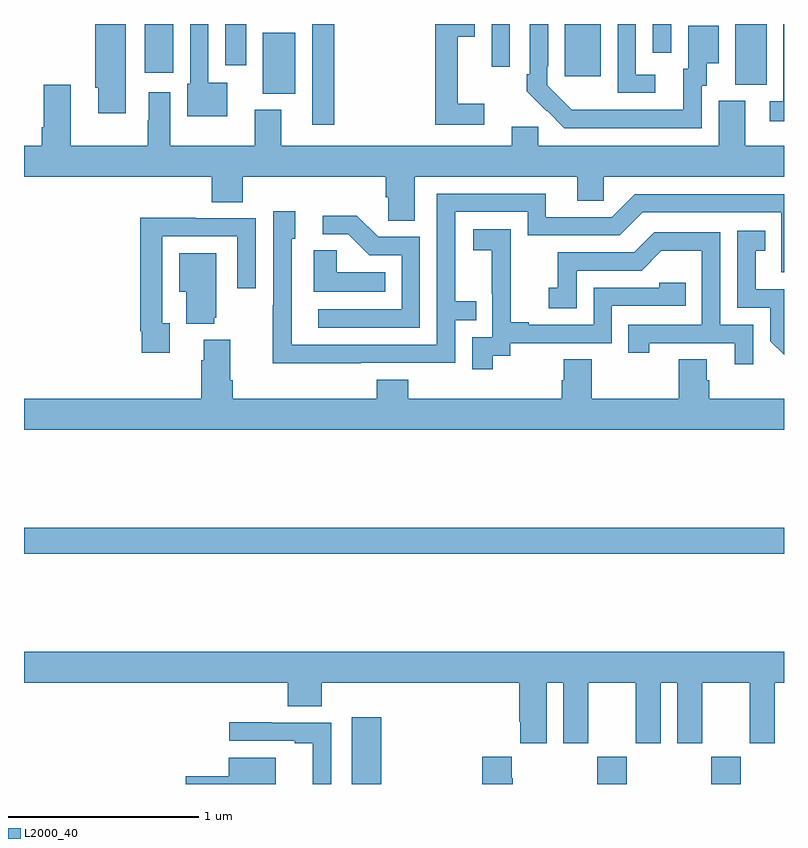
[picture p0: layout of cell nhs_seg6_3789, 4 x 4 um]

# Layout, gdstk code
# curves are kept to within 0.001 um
import gdstk
lib = gdstk.Library(unit=1e-6, precision=1e-09)
def R(c, l, rs):  # rectangles x0, y0, x1, y1
    for r in rs: c.add(gdstk.rectangle(r[:2], r[2:], *l))
def P(c, l, *ps):  # polygons
    for p in ps: c.add(gdstk.Polygon(p, *l))
L2000_40 = (2000, 40)

nhs_seg6_3789 = lib.new_cell('nhs_seg6_3789')
R(nhs_seg6_3789, L2000_40, [(336.725,917.5,336.881,917.851), (338.017,917.5,338.172,917.644), (338.617,917.5,338.772,917.644), (335,918.712,339,918.848), (336.516,920.97,336.632,921.5), (336.257,921.134,336.427,921.454), (338.744,921.181,338.908,921.5), (337.847,921.225,338.035,921.499), (335.636,921.243,335.785,921.5), (337.461,921.276,337.557,921.5), (336.059,921.282,336.169,921.5), (338.31,921.348,338.406,921.5)])
P(nhs_seg6_3789, L2000_40, [(336.07,921.19),(335.97,921.19),(335.97,921.5),(335.874,921.5),(335.874,921.186),(335.858,921.186),(335.858,921.014),(336.07,921.014)],
  [(335.536,921.5),(335.375,921.5),(335.375,921.165),(335.39,921.165),(335.39,921.03),(335.536,921.03)],
  [(337.423,921.079),(337.283,921.079),(337.283,921.434),(337.372,921.434),(337.372,921.5),(337.165,921.5),(337.165,920.97),(337.423,920.97)],
  [(338.323,921.234),(338.22,921.234),(338.22,921.5),(338.124,921.5),(338.124,921.138),(338.323,921.138)],
  [(338.568,921.174),(338.593,921.174),(338.593,921.293),(338.656,921.293),(338.656,921.49),(338.495,921.49),(338.495,921.264),(338.471,921.264),(338.471,921.048),(337.884,921.049),(337.755,921.177),(337.755,921.277),(337.758,921.277),(337.758,921.5),(337.662,921.5),(337.662,921.235),(337.647,921.235),(337.647,921.147),(337.844,920.952),(338.568,920.952)],
  [(339,921.5),(338.997,921.5),(338.997,921.093),(338.925,921.093),(338.925,920.988),(339,920.988)],
  [(337.057,920.696),(337.913,920.696),(337.913,920.569),(338.052,920.569),(338.052,920.696),(339,920.696),(339,920.86),(338.797,920.86),(338.797,921.096),(338.657,921.096),(338.657,920.86),(337.707,920.86),(337.707,920.958),(337.568,920.958),(337.568,920.86),(336.355,920.86),(336.355,921.049),(336.215,921.049),(336.215,920.86),(335.77,920.86),(335.77,921.142),(335.657,921.142),(335.657,920.993),(335.65,920.993),(335.65,920.86),(335.245,920.86),(335.245,921.181),(335.105,921.181),(335.105,920.956),(335.093,920.956),(335.093,920.86),(335,920.86),(335,920.696),(335.987,920.696),(335.987,920.563),(336.152,920.563),(336.152,920.696),(336.905,920.696),(336.905,920.587),(336.918,920.587),(336.918,920.464),(337.057,920.464)],
  [(336.773,919.716),(337.269,919.716),(337.269,919.941),(337.379,919.941),(337.379,920.042),(337.269,920.042),(337.269,920.511),(337.65,920.511),(337.65,920.388),(338.136,920.388),(338.256,920.508),(338.985,920.508),(338.985,920.193),(339,920.193),(339,920.604),(338.214,920.604),(338.094,920.484),(337.747,920.484),(337.747,920.607),(337.173,920.607),(337.173,919.812),(336.408,919.812),(336.408,920.37),(336.427,920.37),(336.427,920.515),(336.312,920.515),(336.312,920.021),(336.31,920.021),(336.31,919.715)],
  [(337.083,920.379),(336.864,920.379),(336.751,920.492),(336.573,920.492),(336.573,920.394),(336.707,920.394),(336.818,920.283),(336.987,920.283),(336.987,919.998),(336.549,919.998),(336.549,919.902),(337.083,919.902)],
  [(335.767,919.926),(335.727,919.926),(335.727,920.382),(336.123,920.382),(336.123,920.109),(336.219,920.109),(336.219,920.478),(335.903,920.478),(335.903,920.48),(335.611,920.48),(335.611,919.882),(335.619,919.882),(335.619,919.77),(335.767,919.77)],
  [(337.468,919.753),(337.56,919.753),(337.56,919.821),(338.094,919.821),(338.094,920.016),(338.483,920.016),(338.483,920.139),(338.343,920.139),(338.343,920.112),(337.998,920.112),(337.998,919.917),(337.657,919.917),(337.657,919.93),(337.562,919.93),(337.562,920.213),(337.563,920.213),(337.563,920.419),(337.365,920.419),(337.365,920.309),(337.463,920.309),(337.463,920.081),(337.464,920.081),(337.464,919.851),(337.359,919.851),(337.359,919.683),(337.468,919.683)],
  [(339,920.103),(338.851,920.103),(338.851,920.307),(338.9,920.307),(338.9,920.413),(338.754,920.413),(338.754,920.007),(338.928,920.007),(338.928,919.83),(339,919.759)],
  [(338.838,919.917),(338.664,919.917),(338.664,920.403),(338.318,920.403),(338.213,920.298),(337.81,920.298),(337.81,920.113),(337.761,920.113),(337.761,920.004),(337.908,920.004),(337.908,920.202),(338.25,920.202),(338.354,920.306),(338.568,920.306),(338.568,919.917),(338.179,919.917),(338.179,919.77),(338.29,919.77),(338.29,919.821),(338.741,919.821),(338.741,919.71),(338.838,919.71)],
  [(336.902,920.194),(336.645,920.194),(336.645,920.309),(336.524,920.309),(336.524,920.09),(336.902,920.09)],
  [(336.002,919.953),(336.013,919.953),(336.013,920.293),(335.816,920.293),(335.816,920.09),(335.855,920.09),(335.855,919.922),(336.002,919.922)],
  [(339,919.528),(338.606,919.528),(338.606,919.626),(338.593,919.626),(338.593,919.736),(338.446,919.736),(338.446,919.528),(337.989,919.528),(337.989,919.736),(337.841,919.736),(337.841,919.626),(337.829,919.626),(337.829,919.528),(337.022,919.528),(337.022,919.627),(336.857,919.627),(336.857,919.528),(336.098,919.528),(336.098,919.624),(336.085,919.624),(336.085,919.837),(335.945,919.837),(335.945,919.73),(335.933,919.73),(335.933,919.528),(335,919.528),(335,919.364),(339,919.364)],
  [(337.75,918.032),(337.838,918.032),(337.838,917.715),(337.969,917.715),(337.969,918.032),(338.219,918.032),(338.219,917.715),(338.35,917.715),(338.35,918.032),(338.438,918.032),(338.438,917.715),(338.569,917.715),(338.569,918.032),(338.819,918.032),(338.819,917.715),(338.95,917.715),(338.95,918.032),(339,918.032),(339,918.196),(335,918.196),(335,918.032),(336.389,918.032),(336.389,917.908),(336.566,917.908),(336.566,918.032),(337.607,918.032),(337.607,917.827),(337.613,917.827),(337.613,917.715),(337.75,917.715)],
  [(336.618,917.823),(336.305,917.823),(336.305,917.825),(336.081,917.825),(336.081,917.727),(336.425,917.727),(336.425,917.715),(336.521,917.715),(336.521,917.5),(336.618,917.5)],
  [(337.572,917.531),(337.567,917.531),(337.567,917.644),(337.412,917.644),(337.412,917.5),(337.572,917.5)],
  [(336.325,917.638),(336.077,917.638),(336.077,917.54),(335.85,917.54),(335.85,917.5),(336.325,917.5)])

lib.write_gds('nhs_seg6_3789.gds')
